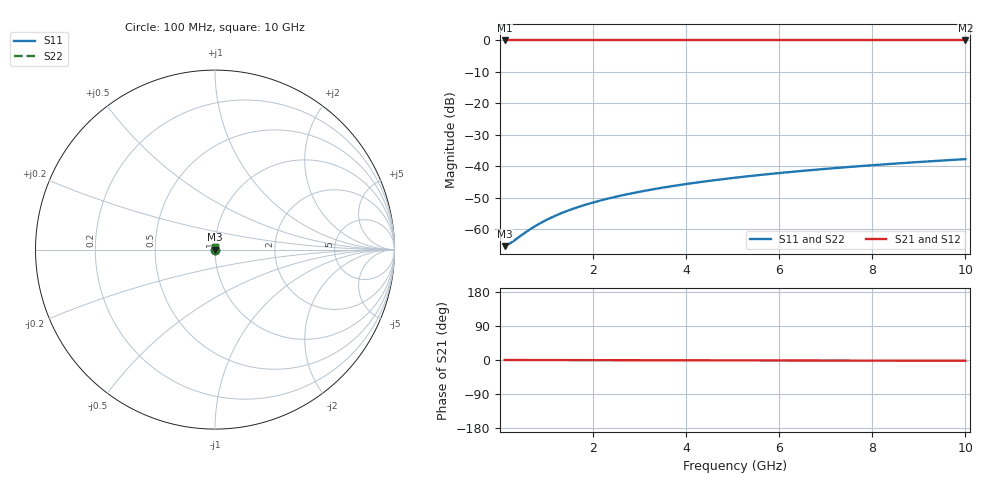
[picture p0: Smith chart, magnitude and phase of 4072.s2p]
# Hz S RI R 50.00
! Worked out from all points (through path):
!   100 points, 100 MHz to 10 GHz, reference 50 ohm
!   highest |S21| = 0.00 dB at 100 MHz (marker M1); lowest = 0.0 dB at 10 GHz (marker M2)
!   lowest |S11| = -65.5 dB at 100 MHz (marker M3), VSWR 1.00, Z = 50.1 + j0.0129 ohm
!   |S11| at or under -10 dB: start of sweep to end of sweep
!   |S22| runs from -65.5 to -37.8 dB; largest |S21 - S12| = 0
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1e8  0.000517 0.000129  0.9995 -0.000353  0.9995 -0.000353  0.000517 0.000129
2e8  0.00052 0.000258  0.9995 -0.000707  0.9995 -0.000707  0.00052 0.000258
3e8  0.000523 0.000386  0.9995 -0.00106  0.9995 -0.00106  0.000523 0.000386
6e8  0.000529 0.000773  0.9995 -0.00212  0.9995 -0.00212  0.000529 0.000773
7e8  0.000531 0.000902  0.9995 -0.00247  0.9995 -0.00247  0.000531 0.000902
8e8  0.000533 0.00103  0.9995 -0.00283  0.9995 -0.00283  0.000533 0.00103
1e9  0.000537 0.00129  0.9995 -0.00353  0.9995 -0.00353  0.000537 0.00129
1.2e9  0.000541 0.00155  0.9995 -0.00424  0.9995 -0.00424  0.000541 0.00155
1.4e9  0.000545 0.0018  0.9994 -0.00495  0.9994 -0.00495  0.000545 0.0018
1.6e9  0.000549 0.00206  0.9994 -0.00565  0.9994 -0.00565  0.000549 0.00206
1.8e9  0.000554 0.00232  0.9994 -0.00636  0.9994 -0.00636  0.000554 0.00232
2.1e9  0.000561 0.00271  0.9994 -0.00742  0.9994 -0.00742  0.000561 0.00271
2.5e9  0.000571 0.00322  0.9994 -0.00883  0.9994 -0.00883  0.000571 0.00322
2.9e9  0.000583 0.00374  0.9994 -0.0102  0.9994 -0.0102  0.000583 0.00374
3.4e9  0.0006 0.00438  0.9994 -0.012  0.9994 -0.012  0.0006 0.00438
4.2e9  0.000632 0.00541  0.9993 -0.0148  0.9993 -0.0148  0.000632 0.00541
5.1e9  0.000674 0.00657  0.9992 -0.018  0.9992 -0.018  0.000674 0.00657
5.9e9  0.000717 0.0076  0.9992 -0.0209  0.9992 -0.0209  0.000717 0.0076
6.7e9  0.000766 0.00863  0.9991 -0.0237  0.9991 -0.0237  0.000766 0.00863
7.5e9  0.000822 0.00966  0.999 -0.0265  0.999 -0.0265  0.000822 0.00966
8.4e9  0.000891 0.0108  0.9989 -0.0297  0.9989 -0.0297  0.000891 0.0108
1e10  0.00103 0.0129  0.9987 -0.0354  0.9987 -0.0354  0.00103 0.0129
